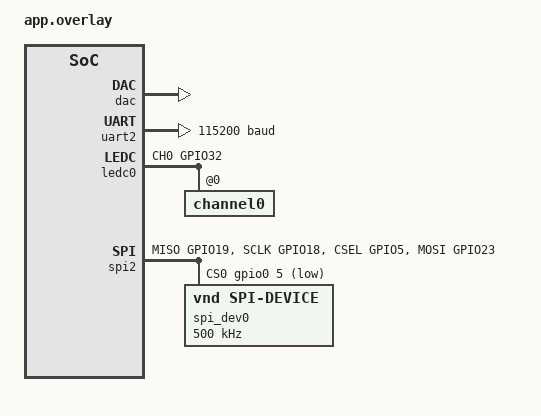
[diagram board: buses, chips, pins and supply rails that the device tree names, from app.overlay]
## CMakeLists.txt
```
cmake_minimum_required(VERSION 3.20.0)

find_package(Zephyr REQUIRED HINTS $ENV{ZEPHYR_BASE})
project(esp32_generic_testbench)

target_sources(app PRIVATE
    src/main.c
    src/uart_transport.c
    src/ztb_protocol.c
    src/test_executor.c
    src/gpio_service.c
    src/board_map.c
    src/dac_service.c
    src/uart_service.c
    src/pwm_service.c
    src/spi_service.c
    src/wifi_transport.c
)
```

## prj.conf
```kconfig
# ─── Core ─────────────────────────────────────────────────────
CONFIG_GPIO=y
CONFIG_PRINTK=y
CONFIG_UART_CONSOLE=y
CONFIG_SERIAL=y
CONFIG_LOG=n
CONFIG_BOOT_BANNER=n

# ─── Peripherals ──────────────────────────────────────────────
CONFIG_DAC=y
CONFIG_SPI=y
CONFIG_PWM=y
CONFIG_PWM_CAPTURE=y

# ─── NVS (transport persistence) ──────────────────────────────
CONFIG_NVS=y
CONFIG_FLASH=y
CONFIG_FLASH_MAP=y
CONFIG_FLASH_PAGE_LAYOUT=y

# ─── WiFi ─────────────────────────────────────────────────────
CONFIG_WIFI=y
CONFIG_WIFI_ESP32=y
CONFIG_NET_L2_WIFI_MGMT=y
CONFIG_NET_MGMT=y
CONFIG_NET_MGMT_EVENT=y
CONFIG_NET_MGMT_EVENT_INFO=y
CONFIG_NET_MGMT_EVENT_QUEUE_TIMEOUT=5000
CONFIG_NET_MGMT_EVENT_QUEUE_SIZE=16

# ─── Networking ───────────────────────────────────────────────
CONFIG_NETWORKING=y
CONFIG_NET_IPV4=y
CONFIG_NET_TCP=y
CONFIG_NET_SOCKETS=y
CONFIG_NET_DHCPV4=y
CONFIG_NET_PKT_RX_COUNT=16
CONFIG_NET_PKT_TX_COUNT=16
CONFIG_NET_BUF_RX_COUNT=64
CONFIG_NET_BUF_TX_COUNT=64
CONFIG_NET_IF_MAX_IPV4_COUNT=1
CONFIG_NET_MAX_CONN=4
CONFIG_NET_TX_STACK_SIZE=2048
CONFIG_NET_RX_STACK_SIZE=2048
CONFIG_NET_MAX_CONTEXTS=10
CONFIG_TEST_RANDOM_GENERATOR=y

# ─── Stack / heap ─────────────────────────────────────────────
CONFIG_MAIN_STACK_SIZE=4096
CONFIG_SYSTEM_WORKQUEUE_STACK_SIZE=2048
CONFIG_HEAP_MEM_POOL_SIZE=65536

# ─── Reboot ───────────────────────────────────────────────────
CONFIG_REBOOT=y
```

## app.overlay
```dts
&dac {
    status = "okay";
};

&uart2 {
    status = "okay";
    current-speed = <115200>;
};

#include <zephyr/dt-bindings/pinctrl/esp32-pinctrl.h>

&pinctrl {

    ledc0_pwm_out: ledc0_pwm_out {
        group1 {
            pinmux = <LEDC_CH0_GPIO32>;
            output-enable;
        };
    };
    
    spim2_custom: spim2_custom {
        group1 {
            pinmux = <SPIM2_MISO_GPIO19>,
                     <SPIM2_SCLK_GPIO18>,
                     <SPIM2_CSEL_GPIO5>;
        };
        group2 {
            pinmux = <SPIM2_MOSI_GPIO23>;
            output-low;
        };
    };

};

&ledc0 {
    status = "okay";
    pinctrl-0 = <&ledc0_pwm_out>;
    pinctrl-names = "default";
    #address-cells = <1>;
    #size-cells = <0>;

    channel0@0 {
        reg = <0x0>;
        timer = <0>;
    };

};

&spi2 {
    status = "okay";
    pinctrl-0 = <&spim2_custom>;
    pinctrl-names = "default";
    #address-cells = <1>;
    #size-cells = <0>;
    cs-gpios = <&gpio0 5 GPIO_ACTIVE_LOW>;
    cs-setup-time = <20>;
    cs-hold-time  = <20>;

    spi_dev0: spi_dev@0 {
        compatible = "vnd,spi-device";
        reg = <0>;
        spi-max-frequency = <500000>;
    };

};

&gpio0 {
    status = "okay";
};
```

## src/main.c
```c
#include <zephyr/kernel.h>
#include <zephyr/kvss/nvs.h>
#include <zephyr/storage/flash_map.h>
#include <zephyr/sys/reboot.h>
#include <zephyr/drivers/uart.h>

#include "uart_transport.h"
#include "wifi_transport.h"
#include "ztb_protocol.h"
#include "test_executor.h"
#include "gpio_service.h"
#include "dac_service.h"
#include "uart_service.h"
#include "pwm_service.h"
#include "spi_service.h"

#define LINE_BUF_SIZE     128
#define RESPONSE_BUF_SIZE 160

/* ── NVS ──────────────────────────────────────────────────────────────────── */
#define NVS_PARTITION        storage_partition
#define NVS_TRANSPORT_KEY    1

#define TRANSPORT_UART  1
#define TRANSPORT_WIFI  2
#define TRANSPORT_NONE  0xFF

static struct nvs_fs nvs;

static uint8_t nvs_read_transport(void)
{
    const struct flash_area *fa;
    if (flash_area_open(FIXED_PARTITION_ID(NVS_PARTITION), &fa) != 0)
        return TRANSPORT_NONE;
    flash_area_close(fa);

    nvs.flash_device = FIXED_PARTITION_DEVICE(NVS_PARTITION);
    nvs.offset       = FIXED_PARTITION_OFFSET(NVS_PARTITION);
    nvs.sector_size  = 4096;
    nvs.sector_count = 2;

    if (nvs_mount(&nvs) != 0) return TRANSPORT_NONE;

    uint8_t val = TRANSPORT_NONE;
    nvs_read(&nvs, NVS_TRANSPORT_KEY, &val, sizeof(val));
    return val;
}

static void nvs_write_transport(uint8_t transport)
{
    nvs_write(&nvs, NVS_TRANSPORT_KEY, &transport, sizeof(transport));
}

/* ── UART menu ────────────────────────────────────────────────────────────── */
static uint8_t uart_menu(void)
{
    /* always init UART first for the menu */
    uart_transport_init();

    uart_transport_send_line("ZTB|status=BOOT\r\n");
    uart_transport_send_line("Select transport:\r\n");
    uart_transport_send_line("  1 = UART\r\n");
    uart_transport_send_line("  2 = WIFI\r\n");
    uart_transport_send_line("Waiting 5 seconds...\r\n");

    /* wait up to 5 seconds for a single character */
    const struct device *uart_dev = DEVICE_DT_GET(DT_CHOSEN(zephyr_console));
    uint32_t deadline = k_uptime_get_32() + 5000;

    while (k_uptime_get_32() < deadline) {
        unsigned char c;
        if (uart_poll_in(uart_dev, &c) == 0) {
            if (c == '1') return TRANSPORT_UART;
            if (c == '2') return TRANSPORT_WIFI;
        }
        k_msleep(10);
    }

    /* timeout — default to UART */
    uart_transport_send_line("Timeout — defaulting to UART\r\n");
    return TRANSPORT_UART;
}

/* ── Transport function pointers ──────────────────────────────────────────── */
static void (*transport_send)(const char *line);
static void (*transport_read)(char *buf, size_t size);

/* ── Services init ────────────────────────────────────────────────────────── */
static int services_init(void)
{
    if (gpio_service_init() != 0) {
        transport_send("ZTB|status=FAIL|err=GPIO_INIT_FAILED\r\n");
        return -1;
    }
    if (dac_service_init() != 0) {
        transport_send("ZTB|status=FAIL|err=DAC_INIT_FAILED\r\n");
        return -1;
    }
    if (uart_service_init() != 0) {
        transport_send("ZTB|status=FAIL|err=UART_INIT_FAILED\r\n");
        return -1;
    }
    if (pwm_service_init() != 0) {
        transport_send("ZTB|status=FAIL|err=PWM_INIT_FAILED\r\n");
        return -1;
    }
    if (spi_service_init() != 0) {
        transport_send("ZTB|status=FAIL|err=SPI_INIT_FAILED\r\n");
        return -1;
    }
    return 0;
}

/* ── Main ─────────────────────────────────────────────────────────────────── */
int main(void)
{
    char line[LINE_BUF_SIZE];
    char response_line[RESPONSE_BUF_SIZE];
    ztb_command_t  command;
    ztb_response_t response;

    /* read saved transport */
    uint8_t saved = nvs_read_transport();
    uint8_t chosen;

    if (saved == TRANSPORT_UART || saved == TRANSPORT_WIFI) {
        /* use saved transport — no menu */
        chosen = saved;
        /* still init UART briefly to print boot message */
        uart_transport_init();
        if (chosen == TRANSPORT_UART) {
            uart_transport_send_line("ZTB|transport=UART\r\n");
        } else {
            uart_transport_send_line("ZTB|transport=WIFI — connecting...\r\n");
        }
    } else {
        /* first boot or no saved value — show menu */
        chosen = uart_menu();
        nvs_write_transport(chosen);
    }

    /* init chosen transport */
    if (chosen == TRANSPORT_WIFI) {
        if (wifi_transport_init() != 0) {
            uart_transport_send_line("ZTB|status=FAIL|err=WIFI_INIT_FAILED\r\n");
            return 0;
        }
        transport_send = wifi_transport_send_line;
        transport_read = wifi_transport_read_line;
    } else {
        transport_send = uart_transport_send_line;
        transport_read = uart_transport_read_line;
    }

    /* init all peripheral services */
    if (services_init() != 0) return 0;

    transport_send("ZTB|status=READY\r\n");

    /* main ZTB loop */
    while (1) {
        transport_read(line, sizeof(line));

        if (!ztb_parse_frame(line, &command)) {
            ztb_make_fail_response(&response, -1, "PARSE_ERROR");
        } else {
            /* handle TRANSPORT_SWITCH inline */
            if (command.cmd == ZTB_CMD_TRANSPORT_SWITCH) {
                uint8_t new_transport = TRANSPORT_NONE;
                if (strcmp(command.ch, "UART") == 0) new_transport = TRANSPORT_UART;
                if (strcmp(command.ch, "WIFI") == 0) new_transport = TRANSPORT_WIFI;

                if (new_transport == TRANSPORT_NONE) {
                    ztb_make_fail_response(&response, command.seq, "INVALID_TRANSPORT");
                } else {
                    nvs_write_transport(new_transport);
                    ztb_make_ok_response(&response, command.seq);
                    ztb_format_response_with_cmd(&response, &command,
                                                 response_line, sizeof(response_line));
                    transport_send(response_line);
                    k_msleep(100);
                    sys_reboot(SYS_REBOOT_COLD);
                }
            } else {
                test_executor_execute(&command, &response);
            }
        }

        ztb_format_response_with_cmd(&response, &command,
                                     response_line, sizeof(response_line));
        transport_send(response_line);
    }

    return 0;
}
```

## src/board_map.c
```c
#include "board_map.h"
#include <string.h>

static const board_gpio_channel_t gpio_channels[] = {
    { .name = "DIO_OUT1", .pin = 27, .direction = BOARD_GPIO_OUTPUT },
    { .name = "DIO_OUT2", .pin = 13, .direction = BOARD_GPIO_OUTPUT },
    { .name = "DIO_IN1",  .pin = 14, .direction = BOARD_GPIO_INPUT  },
    { .name = "DIO_IN2",  .pin = 22, .direction = BOARD_GPIO_INPUT  },
};

static const board_pwm_channel_t pwm_channels[] = {
    { .name = "PWM_OUT1", .pin = 32, .direction = BOARD_PWM_OUTPUT },
    { .name = "PWM_IN1",  .pin = 4,  .direction = BOARD_PWM_INPUT  },
    { .name = "PWM_IN2",  .pin = 2,  .direction = BOARD_PWM_INPUT  },
};

bool board_map_get_gpio_channel(const char *name, board_gpio_channel_t *out_channel)
{
    for (int i = 0; i < (int)(sizeof(gpio_channels) / sizeof(gpio_channels[0])); i++) {
        if (strcmp(name, gpio_channels[i].name) == 0) {
            *out_channel = gpio_channels[i];
            return true;
        }
    }
    return false;
}

const board_gpio_channel_t *board_map_get_gpio_channels(void) { return gpio_channels; }
size_t board_map_get_gpio_channel_count(void) { return sizeof(gpio_channels) / sizeof(gpio_channels[0]); }

bool board_map_get_pwm_channel(const char *name, board_pwm_channel_t *out_channel)
{
    for (int i = 0; i < (int)(sizeof(pwm_channels) / sizeof(pwm_channels[0])); i++) {
        if (strcmp(name, pwm_channels[i].name) == 0) {
            *out_channel = pwm_channels[i];
            return true;
        }
    }
    return false;
}

const board_pwm_channel_t *board_map_get_pwm_channels(void) { return pwm_channels; }
size_t board_map_get_pwm_channel_count(void) { return sizeof(pwm_channels) / sizeof(pwm_channels[0]); }
```

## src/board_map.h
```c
#ifndef BOARD_MAP_H
#define BOARD_MAP_H

#include <stdbool.h>
#include <stddef.h>

typedef enum {
    BOARD_GPIO_INPUT = 0,
    BOARD_GPIO_OUTPUT,
} board_gpio_direction_t;

typedef struct {
    const char *name;
    int pin;
    board_gpio_direction_t direction;
} board_gpio_channel_t;

typedef enum {
    BOARD_PWM_OUTPUT = 0,
    BOARD_PWM_INPUT,
} board_pwm_direction_t;
 
typedef struct {
    const char           *name;
    int                   pin;
    board_pwm_direction_t direction;
} board_pwm_channel_t;

/* SPI is a single fixed channel — no mapping needed */
#define BOARD_SPI_CLK_PIN    18
#define BOARD_SPI_MOSI_PIN   23
#define BOARD_SPI_MISO_PIN   19
#define BOARD_SPI_CS_PIN      5



bool board_map_get_gpio_channel(const char *name, board_gpio_channel_t *out_channel);
const board_gpio_channel_t *board_map_get_gpio_channels(void);
size_t board_map_get_gpio_channel_count(void);



bool board_map_get_pwm_channel(const char *name, board_pwm_channel_t *out_channel);
const board_pwm_channel_t *board_map_get_pwm_channels(void);
size_t board_map_get_pwm_channel_count(void);


#endif
```

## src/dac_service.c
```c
#include "dac_service.h"

#include <zephyr/device.h>
#include <zephyr/drivers/dac.h>
#include <string.h>

#define ESP32_DAC_NODE DT_NODELABEL(dac)

#define DAC_OUT1_CHANNEL_ID 0  /* GPIO25 */
#define DAC_OUT2_CHANNEL_ID 1  /* GPIO26 */

#define DAC_RESOLUTION_BITS 8
#define DAC_REFERENCE_MV    3300

static const struct device *dac_dev = DEVICE_DT_GET(ESP32_DAC_NODE);

static int clamp_mv(int mv)
{
    if (mv < 0) {
        return 0;
    }

    if (mv > DAC_REFERENCE_MV) {
        return DAC_REFERENCE_MV;
    }

    return mv;
}

static int mv_to_raw_8bit(int mv)
{
    mv = clamp_mv(mv);

    return (mv * 255) / DAC_REFERENCE_MV;
}

static int get_dac_channel_id(const char *channel_name)
{
    if (strcmp(channel_name, "DAC_OUT1") == 0) {
        return DAC_OUT1_CHANNEL_ID;
    }

    if (strcmp(channel_name, "DAC_OUT2") == 0) {
        return DAC_OUT2_CHANNEL_ID;
    }

    return -1;
}

int dac_service_init(void)
{
    if (!device_is_ready(dac_dev)) {
        return -1;
    }

    struct dac_channel_cfg dac_out1_cfg = {
        .channel_id = DAC_OUT1_CHANNEL_ID,
        .resolution = DAC_RESOLUTION_BITS,
    };

    struct dac_channel_cfg dac_out2_cfg = {
        .channel_id = DAC_OUT2_CHANNEL_ID,
        .resolution = DAC_RESOLUTION_BITS,
    };

    if (dac_channel_setup(dac_dev, &dac_out1_cfg) < 0) {
        return -1;
    }

    if (dac_channel_setup(dac_dev, &dac_out2_cfg) < 0) {
        return -1;
    }

    dac_write_value(dac_dev, DAC_OUT1_CHANNEL_ID, 0);
    dac_write_value(dac_dev, DAC_OUT2_CHANNEL_ID, 0);

    return 0;
}

bool dac_service_write_mv(const char *channel_name, int mv)
{
    int channel_id = get_dac_channel_id(channel_name);

    if (channel_id < 0) {
        return false;
    }

    int raw = mv_to_raw_8bit(mv);

    if (dac_write_value(dac_dev, channel_id, raw) < 0) {
        return false;
    }

    return true;
}
```

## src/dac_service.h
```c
#ifndef DAC_SERVICE_H
#define DAC_SERVICE_H

#include <stdbool.h>

int dac_service_init(void);
bool dac_service_write_mv(const char *channel_name, int mv);

#endif
```

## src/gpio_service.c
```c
#include "gpio_service.h"
#include "board_map.h"

#include <zephyr/kernel.h>
#include <zephyr/device.h>
#include <zephyr/drivers/gpio.h>
#include <stddef.h>
#define ESP32_GPIO_NODE DT_NODELABEL(gpio0)

static const struct device *gpio0_dev = DEVICE_DT_GET(ESP32_GPIO_NODE);

int gpio_service_init(void)
{
    if (!device_is_ready(gpio0_dev))
    {
        return -1;
    }

    const board_gpio_channel_t *channels = board_map_get_gpio_channels();
    size_t channel_count = board_map_get_gpio_channel_count();

    for (size_t i = 0; i < channel_count; i++)
    {
        int ret;

        if (channels[i].direction == BOARD_GPIO_OUTPUT)
        {
            ret = gpio_pin_configure(gpio0_dev,
                                     channels[i].pin,
                                     GPIO_OUTPUT_INACTIVE);
        }
        else
        {
            ret = gpio_pin_configure(gpio0_dev,
                                     channels[i].pin,
                                     GPIO_INPUT | GPIO_PULL_DOWN);
        }

        if (ret < 0)
        {
            return -1;
        }
    }

    return 0;
}

bool gpio_service_write(const char *channel_name, int value)
{
    board_gpio_channel_t channel;

    if (!board_map_get_gpio_channel(channel_name, &channel))
    {
        return false;
    }

    if (channel.direction != BOARD_GPIO_OUTPUT)
    {
        return false;
    }

    gpio_pin_set_raw(gpio0_dev, channel.pin, value ? 1 : 0);

    return true;
}

bool gpio_service_read(const char *channel_name, int *out_value)
{
    board_gpio_channel_t channel;

    if (!board_map_get_gpio_channel(channel_name, &channel))
    {
        return false;
    }

    int value = gpio_pin_get_raw(gpio0_dev, channel.pin);

    if (value < 0)
    {
        return false;
    }

    *out_value = value ? 1 : 0;

    return true;
}

bool gpio_service_expect(const char *channel_name,
                         int expected,
                         int timeout_ms,
                         int *out_actual)
{
    int elapsed_ms = 0;
    int actual = 0;

    while (elapsed_ms <= timeout_ms)
    {
        if (!gpio_service_read(channel_name, &actual))
        {
            return false;
        }

        *out_actual = actual;

        if (actual == (expected ? 1 : 0))
        {
            return true;
        }

        k_msleep(5);
        elapsed_ms += 5;
    }

    return false;
}
```

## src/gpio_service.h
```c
#ifndef GPIO_SERVICE_H
#define GPIO_SERVICE_H

#include <stdbool.h>

int gpio_service_init(void);

bool gpio_service_write(const char *channel, int value);
bool gpio_service_read(const char *channel, int *out_value);
bool gpio_service_expect(const char *channel,
                         int expected,
                         int timeout_ms,
                         int *out_actual);

#endif
```

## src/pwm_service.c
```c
#include "pwm_service.h"
#include "board_map.h"

#include <zephyr/kernel.h>
#include <zephyr/drivers/pwm.h>
#include <zephyr/drivers/gpio.h>
#include <string.h>

/*
 * PWM output  — LEDC channel 0 — GPIO32 — PWM_OUT1
 * PWM capture — GPIO interrupt — GPIO4  — PWM_IN1 (fan readback)
 * PWM capture — GPIO interrupt — GPIO2  — PWM_IN2 (PWM match readback)
 */

#define LEDC_CH_OUT1        0U
#define PWM_CAPTURE_NODE    DT_NODELABEL(gpio0)
#define EDGES_NEEDED        3

static const struct device *cap_gpio_dev;

/* capture state — one set per channel */
struct cap_state {
    struct gpio_callback  cb;
    volatile uint32_t     edge_times[EDGES_NEEDED];
    volatile int          edge_levels[EDGES_NEEDED];
    volatile int          edge_count;
    struct k_sem          sem;
    volatile bool         active;
    int                   pin;
};

static struct cap_state cap_in1 = { .pin = 4 };
static struct cap_state cap_in2 = { .pin = 2 };

static uint32_t udiff(uint32_t a, uint32_t b)
{
    return (a > b) ? (a - b) : (b - a);
}

static void capture_isr(const struct device *dev,
                        struct gpio_callback *cb,
                        uint32_t pins)
{
    struct cap_state *cap = CONTAINER_OF(cb, struct cap_state, cb);
    if (!(pins & BIT(cap->pin))) return;

    if (!cap->active) return;

    int idx = cap->edge_count;
    if (idx < EDGES_NEEDED) {
        cap->edge_times[idx]  = k_cycle_get_32();
        cap->edge_levels[idx] = gpio_pin_get_raw(dev, cap->pin);
        cap->edge_count = idx + 1;
    }

    if (cap->edge_count == EDGES_NEEDED) {
        cap->active = false;
        k_sem_give(&cap->sem);
    }
}

static int init_capture_pin(struct cap_state *cap)
{
    gpio_pin_configure(cap_gpio_dev, cap->pin, GPIO_INPUT | GPIO_PULL_DOWN);
    k_sem_init(&cap->sem, 0, 1);
    cap->active     = false;
    cap->edge_count = 0;

    gpio_init_callback(&cap->cb, capture_isr, BIT(cap->pin));
    return gpio_add_callback(cap_gpio_dev, &cap->cb);
}

int pwm_service_init(void)
{
    const struct device *ledc = DEVICE_DT_GET(DT_NODELABEL(ledc0));
    if (!device_is_ready(ledc)) return -1;

    cap_gpio_dev = DEVICE_DT_GET(PWM_CAPTURE_NODE);
    if (!device_is_ready(cap_gpio_dev)) return -1;

    if (init_capture_pin(&cap_in1) != 0) return -1;
    if (init_capture_pin(&cap_in2) != 0) return -1;

    return 0;
}

bool pwm_service_write(const char *channel, uint32_t frequency, uint32_t duty_cycle)
{
    if (strcmp(channel, "PWM_OUT1") != 0) return false;
    if (frequency == 0 || frequency > 100000) return false;
    if (duty_cycle > 100) return false;

    const struct device *dev = DEVICE_DT_GET(DT_NODELABEL(ledc0));
    if (!device_is_ready(dev)) return false;

    uint32_t period_ns = 1000000000u / frequency;
    uint32_t pulse_ns  = period_ns * duty_cycle / 100u;

    return pwm_set(dev, LEDC_CH_OUT1, period_ns, pulse_ns, 0) == 0;
}

static bool gpio_capture(struct cap_state *cap,
                         uint32_t timeout_ms,
                         uint32_t *out_frequency,
                         uint32_t *out_duty_cycle)
{
    uint32_t cpu_hz = sys_clock_hw_cycles_per_sec();
    uint32_t min_period_cy = cpu_hz / 20000;

    cap->edge_count = 0;
    cap->active     = false;
    k_sem_reset(&cap->sem);

    int ret = gpio_pin_interrupt_configure(cap_gpio_dev, cap->pin, GPIO_INT_EDGE_BOTH);
    if (ret != 0) return false;

    cap->active = true;

    ret = k_sem_take(&cap->sem, K_MSEC(timeout_ms));

    gpio_pin_interrupt_configure(cap_gpio_dev, cap->pin, GPIO_INT_DISABLE);
    cap->active = false;

    if (ret != 0)                      return false;
    if (cap->edge_count < EDGES_NEEDED) return false;

    uint32_t period_cy = cap->edge_times[2] - cap->edge_times[0];
    uint32_t pulse_cy;

    if (cap->edge_levels[0] == 1) {
        pulse_cy = cap->edge_times[1] - cap->edge_times[0];
    } else {
        pulse_cy = cap->edge_times[2] - cap->edge_times[1];
    }

    if (period_cy == 0)            return false;
    if (period_cy < min_period_cy) return false;
    if (pulse_cy  == 0)            return false;
    if (pulse_cy  >= period_cy)    return false;

    *out_frequency  = cpu_hz / period_cy;
    *out_duty_cycle = pulse_cy * 100u / period_cy;

    return true;
}

bool pwm_service_read_with_tolerance(const char *channel,
                                     uint32_t expected_frequency,
                                     uint32_t expected_duty_cycle,
                                     uint32_t freq_tol_pct,
                                     uint32_t duty_tol_pp,
                                     uint32_t timeout_ms,
                                     uint32_t *out_frequency,
                                     uint32_t *out_duty_cycle)
{
    struct cap_state *cap;

    if      (strcmp(channel, "PWM_IN1") == 0) cap = &cap_in1;
    else if (strcmp(channel, "PWM_IN2") == 0) cap = &cap_in2;
    else return false;

    k_msleep(50);

    if (!gpio_capture(cap, timeout_ms, out_frequency, out_duty_cycle)) {
        return false;
    }

    if (udiff(*out_frequency, expected_frequency) * 100u
            > expected_frequency * freq_tol_pct) {
        return false;
    }

    if (udiff(*out_duty_cycle, expected_duty_cycle) > duty_tol_pp) {
        return false;
    }

    return true;
}
```

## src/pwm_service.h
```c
#ifndef PWM_SERVICE_H
#define PWM_SERVICE_H

#include <stdbool.h>
#include <stdint.h>

int  pwm_service_init(void);

bool pwm_service_write(const char *channel,
                       uint32_t frequency,
                       uint32_t duty_cycle);

bool pwm_service_read_with_tolerance(const char *channel,
                                     uint32_t expected_frequency,
                                     uint32_t expected_duty_cycle,
                                     uint32_t freq_tol_pct,
                                     uint32_t duty_tol_pp,
                                     uint32_t timeout_ms,
                                     uint32_t *out_frequency,
                                     uint32_t *out_duty_cycle);

#endif
```

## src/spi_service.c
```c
#include "spi_service.h"
#include "board_map.h"

#include <zephyr/kernel.h>
#include <zephyr/drivers/spi.h>
#include <string.h>

#define SPI_NODE    DT_NODELABEL(spi2)
#define SPI_DEV     DT_CHILD(DT_NODELABEL(spi2), spi_dev0)

static const struct spi_dt_spec spi_dev =
    SPI_DT_SPEC_GET(DT_NODELABEL(spi_dev0),
                    SPI_OP_MODE_MASTER | SPI_TRANSFER_MSB | SPI_WORD_SET(8),
                    0);

int spi_service_init(void)
{
    if (!spi_is_ready_dt(&spi_dev)) return -1;
    return 0;
}

bool spi_service_send_expect(const char *tx,
                             const char *expect,
                             char       *out_rx,
                             size_t      out_rx_size)
{
    size_t  len    = strlen(tx);
    uint8_t rx_buf[64] = {0};

    if (len == 0 || len > sizeof(rx_buf)) return false;

    struct spi_buf tx_bufs[] = {{ .buf = (void *)tx, .len = len }};
    struct spi_buf rx_bufs[] = {{ .buf = rx_buf,     .len = len }};

    struct spi_buf_set tx_set = { .buffers = tx_bufs, .count = 1 };
    struct spi_buf_set rx_set = { .buffers = rx_bufs, .count = 1 };

    int ret = spi_transceive_dt(&spi_dev, &tx_set, &rx_set);
    if (ret != 0) return false;

    size_t copy_len = (len < out_rx_size - 1) ? len : out_rx_size - 1;
    memcpy(out_rx, rx_buf, copy_len);
    out_rx[copy_len] = '\0';

    return strncmp(out_rx, expect, strlen(expect)) == 0;
}
bool spi_service_write(const char *tx)
{
    size_t  len    = strlen(tx);
    uint8_t rx_buf[64] = {0};

    if (len == 0 || len > sizeof(rx_buf)) return false;

    struct spi_buf tx_bufs[] = {{ .buf = (void *)tx, .len = len }};
    struct spi_buf rx_bufs[] = {{ .buf = rx_buf,     .len = len }};

    struct spi_buf_set tx_set = { .buffers = tx_bufs, .count = 1 };
    struct spi_buf_set rx_set = { .buffers = rx_bufs, .count = 1 };

    return spi_transceive_dt(&spi_dev, &tx_set, &rx_set) == 0;
}

bool spi_service_write_byte(uint8_t byte)
{
    uint8_t tx_buf[1] = { byte };
    uint8_t rx_buf[1] = { 0 };

    struct spi_buf tx_bufs[] = {{ .buf = tx_buf, .len = 1 }};
    struct spi_buf rx_bufs[] = {{ .buf = rx_buf, .len = 1 }};

    struct spi_buf_set tx_set = { .buffers = tx_bufs, .count = 1 };
    struct spi_buf_set rx_set = { .buffers = rx_bufs, .count = 1 };

    return spi_transceive_dt(&spi_dev, &tx_set, &rx_set) == 0;
}
```

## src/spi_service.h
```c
#ifndef SPI_SERVICE_H
#define SPI_SERVICE_H

#include <stdbool.h>
#include <stddef.h>
#include <stdint.h>

int  spi_service_init(void);

bool spi_service_send_expect(const char *tx,
                             const char *expect,
                             char       *out_rx,
                             size_t      out_rx_size);
bool spi_service_write(const char *tx);
bool spi_service_write_byte(uint8_t byte);
#endif
```

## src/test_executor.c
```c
#include "test_executor.h"

#include "gpio_service.h"
#include "dac_service.h"
#include "uart_service.h"
#include "pwm_service.h"

#include <string.h>

static void execute_gpio_write(const ztb_command_t *command,
                               ztb_response_t *response)
{
    if (!gpio_service_write(command->ch, command->val)) {
        ztb_make_fail_response(response, command->seq, "GPIO_WRITE_FAILED");
        return;
    }

    ztb_make_ok_response(response, command->seq);
}

static void execute_gpio_read(const ztb_command_t *command,
                              ztb_response_t *response)
{
    int val;

    if (!gpio_service_read(command->ch, &val)) {
        ztb_make_fail_response(response, command->seq, "GPIO_READ_FAILED");
        return;
    }

    ztb_make_gpio_value_response(response, command->seq, val);
}

static void execute_gpio_expect(const ztb_command_t *command,
                                ztb_response_t *response)
{
    int actual;

    bool pass = gpio_service_expect(command->ch,
                                    command->val,
                                    command->timeout_ms,
                                    &actual);

    ztb_make_gpio_expect_response(response,
                                  command->seq,
                                  pass,
                                  command->val,
                                  actual);
}

static void execute_dac_write(const ztb_command_t *command,
                              ztb_response_t *response)
{
    if (!dac_service_write_mv(command->ch, command->mv)) {
        ztb_make_fail_response(response, command->seq, "DAC_WRITE_FAILED");
        return;
    }

    ztb_make_ok_response(response, command->seq);
}

static void execute_uart_write(const ztb_command_t *command,
                               ztb_response_t *response)
{
    if (!uart_service_write(command->ch, command->tx)) {
        ztb_make_fail_response(response, command->seq, "UART_WRITE_FAILED");
        return;
    }

    ztb_make_ok_response(response, command->seq);
}

static void execute_uart_read(const ztb_command_t *command,
                              ztb_response_t *response)
{
    char rx_buffer[64];

    if (!uart_service_read(command->ch,
                           command->timeout_ms,
                           rx_buffer,
                           sizeof(rx_buffer))) {
        ztb_make_fail_response(response, command->seq, "UART_READ_TIMEOUT");
        return;
    }

    ztb_make_uart_rx_response(response, command->seq, rx_buffer);
}

static void execute_uart_send_expect(const ztb_command_t *command,
                                     ztb_response_t *response)
{
    char rx_buffer[64];

    if (!uart_service_send_expect(command->ch,
                                  command->tx,
                                  command->expect,
                                  command->timeout_ms,
                                  rx_buffer,
                                  sizeof(rx_buffer))) {
        ztb_make_fail_response(response, command->seq, "UART_MISMATCH");
        response->has_rx = true;
        strncpy(response->rx, rx_buffer, sizeof(response->rx) - 1);
        return;
    }

    ztb_make_uart_rx_response(response, command->seq, rx_buffer);
}

static void execute_pwm_write(const ztb_command_t *command, ztb_response_t *response)
{
    bool pass = pwm_service_write(command->ch,
                                  command->frequency,
                                  command->duty_cycle);
    ztb_make_pwm_write_response(response, command->seq, pass,
                                command->duty_cycle, command->frequency);
}
 
static void execute_pwm_read_with_tolerance(const ztb_command_t *command,
                                            ztb_response_t *response)
{
    uint32_t measured_freq = 0;
    uint32_t measured_duty = 0;
 
    bool pass = pwm_service_read_with_tolerance(command->ch,
                                               command->frequency,
                                               command->duty_cycle,
                                               command->freq_tol_pct,
                                               command->duty_tol_pp,
                                               command->timeout_ms,
                                               &measured_freq,
                                               &measured_duty);
 
    ztb_make_pwm_read_with_tolerance_response(response, command->seq, pass,
                                 command->duty_cycle, command->frequency,
                                 measured_duty, measured_freq,
                                 command->freq_tol_pct, command->duty_tol_pp);
}


static void execute_spi_send_expect(const ztb_command_t *command,
                                    ztb_response_t *response)
{
    char rx_buffer[64];
 
    bool pass = spi_service_send_expect(command->tx,
                                        command->expect,
                                        rx_buffer,
                                        sizeof(rx_buffer));
 
    if (!pass) {
        ztb_make_fail_response(response, command->seq, "SPI_MISMATCH");
        response->has_rx = true;
        strncpy(response->rx, rx_buffer, sizeof(response->rx) - 1);
        return;
    }
 
    ztb_make_uart_rx_response(response, command->seq, rx_buffer);
}
static void execute_spi_write(const ztb_command_t *command,
                              ztb_response_t *response)
{
    uint8_t byte;
    if (strcmp(command->tx, "LED_ON") == 0)       byte = 0x01;
    else if (strcmp(command->tx, "LED_OFF") == 0) byte = 0x00;
    else {
        ztb_make_fail_response(response, command->seq, "SPI_UNKNOWN_CMD");
        return;
    }

    if (!spi_service_write_byte(byte)) {
        ztb_make_fail_response(response, command->seq, "SPI_WRITE_FAILED");
        return;
    }
    ztb_make_ok_response(response, command->seq);
}
void test_executor_execute(const ztb_command_t *command,
                           ztb_response_t *response)
{
    switch (command->cmd) {
    case ZTB_CMD_GPIO_WRITE:
        execute_gpio_write(command, response);
        break;

    case ZTB_CMD_GPIO_READ:
        execute_gpio_read(command, response);
        break;

    case ZTB_CMD_GPIO_EXPECT:
        execute_gpio_expect(command, response);
        break;

    case ZTB_CMD_DAC_WRITE:
        execute_dac_write(command, response);
        break;

    case ZTB_CMD_UART_WRITE:
        execute_uart_write(command, response);
        break;

    case ZTB_CMD_UART_READ:
        execute_uart_read(command, response);
        break;

    case ZTB_CMD_UART_SEND_EXPECT:
        execute_uart_send_expect(command, response);
        break;

    case ZTB_CMD_PWM_WRITE:
        execute_pwm_write(command, response);
        break;

    case ZTB_CMD_PWM_READ_WITH_TOLERANCE:
        execute_pwm_read_with_tolerance(command, response);
        break;
    case ZTB_CMD_SPI_SEND_EXPECT:
        execute_spi_send_expect(command, response); 
        break;
    case ZTB_CMD_SPI_WRITE:
        execute_spi_write(command, response);
        break;

    default:
        ztb_make_fail_response(response, command->seq, "UNKNOWN_COMMAND");
        break;
    }
}
```

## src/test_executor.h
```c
#ifndef TEST_EXECUTOR_H
#define TEST_EXECUTOR_H

#include "ztb_protocol.h"

void test_executor_execute(const ztb_command_t *command,
                           ztb_response_t *response);

#endif
```
